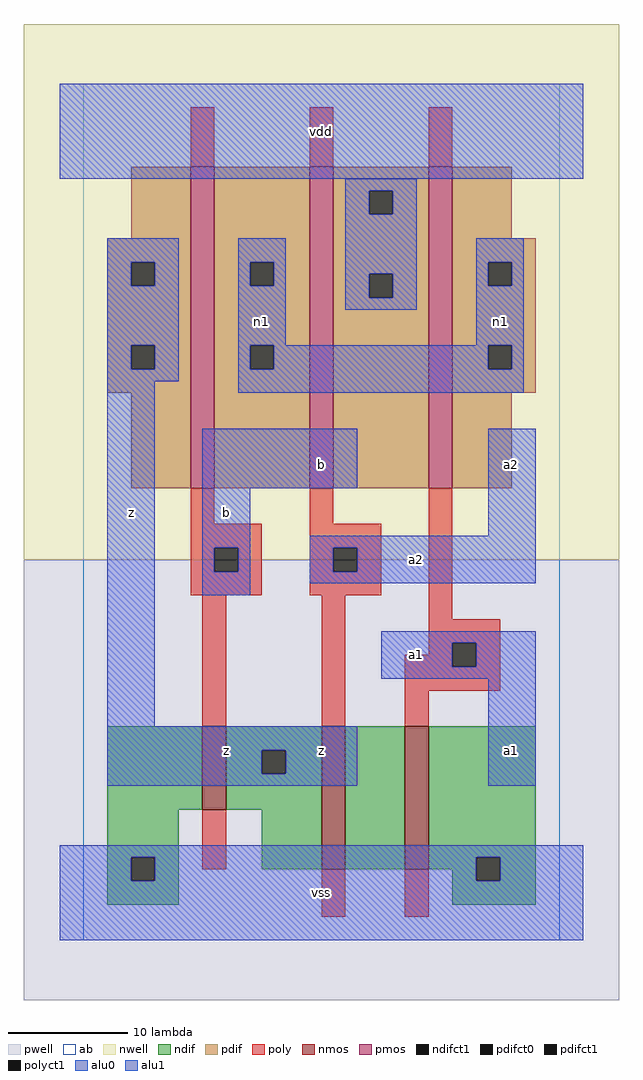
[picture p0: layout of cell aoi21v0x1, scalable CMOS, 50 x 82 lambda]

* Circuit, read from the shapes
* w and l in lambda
.subckt aoi21v0x1 a1 a2 b n1 vdd vss z
M1 z b vss VSUBS nfet w=7 l=2
M2 n2 a2 z VSUBS nfet w=12 l=2
M3 vss a1 n2 VSUBS nfet w=12 l=2
M4 n1 b z n3 pfet w=27 l=2
M5 vdd a2 n1 n3 pfet w=27 l=2
M6 n1 a1 vdd n3 pfet w=27 l=2
.ends

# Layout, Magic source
magic
tech scmos
<< ab >>
rect 0 0 40 72
<< nwell >>
rect -5 32 45 77
<< pwell >>
rect -5 -5 45 32
<< poly >>
rect 9 65 11 70
rect 19 65 21 70
rect 29 65 31 70
rect 9 35 11 38
rect 19 35 21 38
rect 9 33 15 35
rect 9 31 11 33
rect 13 31 15 33
rect 9 29 15 31
rect 19 33 25 35
rect 19 31 21 33
rect 23 31 25 33
rect 19 29 25 31
rect 10 18 12 29
rect 20 18 22 29
rect 29 27 31 38
rect 29 25 35 27
rect 29 24 31 25
rect 27 23 31 24
rect 33 23 35 25
rect 27 21 35 23
rect 27 18 29 21
rect 10 6 12 11
rect 20 2 22 6
rect 27 2 29 6
<< ndif >>
rect 2 11 10 18
rect 12 16 20 18
rect 12 14 15 16
rect 17 14 20 16
rect 12 11 20 14
rect 2 7 8 11
rect 2 5 4 7
rect 6 5 8 7
rect 15 6 20 11
rect 22 6 27 18
rect 29 7 38 18
rect 29 6 33 7
rect 2 3 8 5
rect 31 5 33 6
rect 35 5 38 7
rect 31 3 38 5
<< pdif >>
rect 4 59 9 65
rect 2 57 9 59
rect 2 55 4 57
rect 6 55 9 57
rect 2 50 9 55
rect 2 48 4 50
rect 6 48 9 50
rect 2 46 9 48
rect 4 38 9 46
rect 11 57 19 65
rect 11 55 14 57
rect 16 55 19 57
rect 11 50 19 55
rect 11 48 14 50
rect 16 48 19 50
rect 11 38 19 48
rect 21 63 29 65
rect 21 61 24 63
rect 26 61 29 63
rect 21 56 29 61
rect 21 54 24 56
rect 26 54 29 56
rect 21 38 29 54
rect 31 59 36 65
rect 31 57 38 59
rect 31 55 34 57
rect 36 55 38 57
rect 31 50 38 55
rect 31 48 34 50
rect 36 48 38 50
rect 31 46 38 48
rect 31 38 36 46
<< alu1 >>
rect -2 64 42 72
rect 2 57 8 59
rect 2 55 4 57
rect 6 55 8 57
rect 2 50 8 55
rect 2 48 4 50
rect 6 48 8 50
rect 2 47 8 48
rect 2 18 6 47
rect 10 38 23 43
rect 10 33 14 38
rect 34 34 38 43
rect 10 31 11 33
rect 13 31 14 33
rect 10 29 14 31
rect 19 33 38 34
rect 19 31 21 33
rect 23 31 38 33
rect 19 30 38 31
rect 25 25 38 26
rect 25 23 31 25
rect 33 23 38 25
rect 25 22 38 23
rect 2 16 23 18
rect 2 14 15 16
rect 17 14 23 16
rect 2 13 23 14
rect 34 13 38 22
rect -2 7 42 8
rect -2 5 4 7
rect 6 5 33 7
rect 35 5 42 7
rect -2 0 42 5
<< nmos >>
rect 10 11 12 18
rect 20 6 22 18
rect 27 6 29 18
<< pmos >>
rect 9 38 11 65
rect 19 38 21 65
rect 29 38 31 65
<< polyct1 >>
rect 11 31 13 33
rect 21 31 23 33
rect 31 23 33 25
<< ndifct1 >>
rect 15 14 17 16
rect 4 5 6 7
rect 33 5 35 7
<< pdifct0 >>
rect 14 55 16 57
rect 14 48 16 50
rect 24 61 26 63
rect 24 54 26 56
rect 34 55 36 57
rect 34 48 36 50
<< pdifct1 >>
rect 4 55 6 57
rect 4 48 6 50
<< alu0 >>
rect 22 63 28 64
rect 22 61 24 63
rect 26 61 28 63
rect 13 57 17 59
rect 13 55 14 57
rect 16 55 17 57
rect 13 50 17 55
rect 22 56 28 61
rect 22 54 24 56
rect 26 54 28 56
rect 22 53 28 54
rect 33 57 37 59
rect 33 55 34 57
rect 36 55 37 57
rect 33 50 37 55
rect 13 48 14 50
rect 16 48 34 50
rect 36 48 37 50
rect 13 46 37 48
<< labels >>
rlabel alu0 15 52 15 52 6 n1
rlabel alu0 35 52 35 52 6 n1
rlabel alu1 4 36 4 36 6 z
rlabel alu1 12 16 12 16 6 z
rlabel alu1 12 36 12 36 6 b
rlabel alu1 20 4 20 4 6 vss
rlabel alu1 20 16 20 16 6 z
rlabel alu1 28 32 28 32 6 a2
rlabel alu1 28 24 28 24 6 a1
rlabel alu1 20 40 20 40 6 b
rlabel alu1 20 68 20 68 6 vdd
rlabel alu1 36 16 36 16 6 a1
rlabel alu1 36 40 36 40 6 a2
<< end >>
